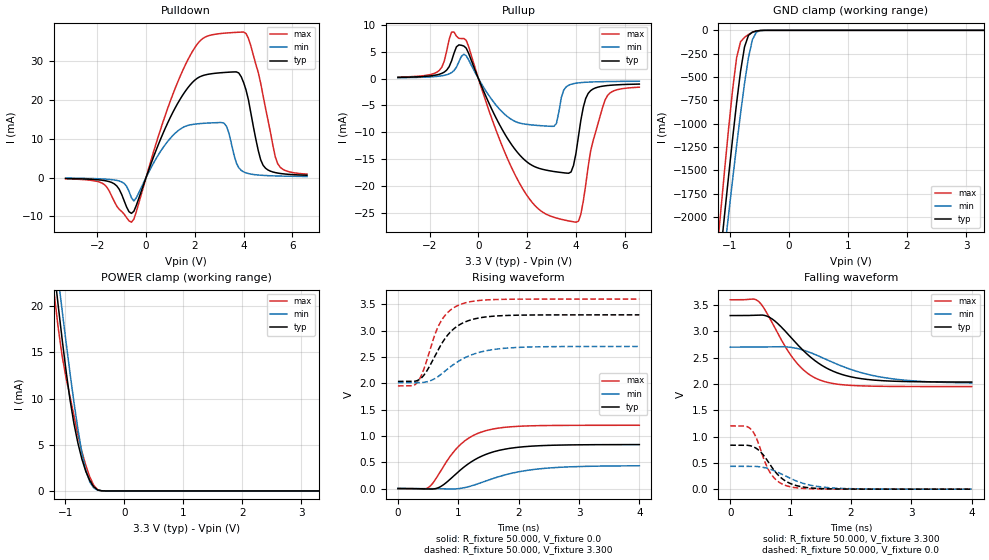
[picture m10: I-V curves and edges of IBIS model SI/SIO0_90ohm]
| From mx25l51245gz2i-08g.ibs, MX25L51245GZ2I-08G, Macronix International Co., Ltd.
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|   Model SI/SIO0_90ohm
[Model] SI/SIO0_90ohm
Model_type I/O
Vinl = 0.8
Vinh = 2.31
Vmeas = 1.65
Vref = 3.3
Cref = 30pF
Rref = 25000
Polarity   Non-Inverting
Enable   Active-High
C_comp   6.079pF   5.517pF   6.777pF
[Temperature Range]   25.000   85.000   -40.000
[Voltage Range]   3.300V   2.700V   3.600V
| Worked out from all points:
|   slope of the pulldown table from 0 to 0.495 V, typ, clamps not added: 59.2 ohm
|   slope of the pullup table from 0 to 0.495 V, typ, clamps not added: 95 ohm
|   GND clamp passes 1 mA (typ) near -0.46 V on its own axis
|   POWER clamp passes 1 mA (typ) near -0.57 V on its own axis
|   rising waveform, R_fixture 50.000, V_fixture 0.0: 20-80 % time 647ps typ, 829ps min, 519ps max; typ from 0 V to 0.835 V
|   rising waveform, R_fixture 50.000, V_fixture 3.300: 20-80 % time 432ps typ, 584ps min, 334ps max; typ from 2.04 V to 3.3 V
|   falling waveform, R_fixture 50.000, V_fixture 3.300: 20-80 % time 741ps typ, 987ps min, 556ps max; typ from 3.3 V to 2.04 V
|   falling waveform, R_fixture 50.000, V_fixture 0.0: 20-80 % time 365ps typ, 549ps min, 270ps max; typ from 0.836 V to 0 V
[Pulldown]
|Voltage   I(typ)   I(min)   I(max)
-3.3V     -252uA     -157uA     -332uA
-1.9V     -630.6uA   -333uA     -1.199mA
-1.4V     -1.307mA   -557.3uA   -4.922mA
-600mV    -9.242mA   -5.224mA   -11.51mA
900mV     14.26mA    9.414mA    18.07mA
1.9V      24.51mA    13.68mA    32.47mA
3.2V      27.07mA    13.98mA    37.2mA
3.9V      25.99mA    1.859mA    37.47mA
4.2V      19.95mA    1.012mA    35.81mA
4.8V      3.151mA    546.7uA    21.04mA
5.4V      1.144mA    391.9uA    3.53mA
6.6V      588uA      270.5uA    879.2uA
[Pullup]
|Voltage   I(typ)   I(min)   I(max)
-3.3V     201.2uA    140.4uA    254.5uA
-1.6V     795.8uA    441.3uA    1.528mA
-1.1V     3.284mA    1.094mA    8.648mA
-500mV    5.663mA    4.237mA    7.117mA
700mV     -7.141mA   -4.83mA    -9.36mA
1.8V      -14.78mA   -8.424mA   -20.44mA
3.1V      -17.35mA   -8.907mA   -25.88mA
3.5V      -17.59mA   -2.156mA   -26.37mA
4V        -13.98mA   -873.6uA   -26.8mA
4.4V      -3.731mA   -699.6uA   -19.86mA
5.2V      -1.361mA   -578uA     -3.945mA
6.6V      -1.043mA   -510uA     -1.623mA
[GND_clamp]
|Voltage   I(typ)   I(min)   I(max)
-3.3V     -16.26A    -15.32A    -17.42A
-1.223V   -2.789A    -3.098A    -2.397A
-1.156V   -2.37A     -2.716A    -1.934A
-1.089V   -1.956A    -2.336A    -1.48A
-1.022V   -1.549A    -1.962A    -1.041A
-888mV    -777.8mA   -1.235A    -293.3mA
-821mV    -438.6mA   -890.1mA   -121.9mA
-754mV    -178mA     -568.8mA   -75.51mA
-620mV    -19.48mA   -98.95mA   -20.55mA
-553mV    -6.969mA   -20.17mA   -6.693mA
-419mV    -222.9uA   -429.4uA   -105.6uA
3.3V      0A         0A         0A
[POWER_clamp]
|Voltage   I(typ)   I(min)   I(max)
-3.266V   152.7mA    145.5mA    161.8mA
-1.189V   23.95mA    26.75mA    21.39mA
-1.122V   20.15mA    23.14mA    17.74mA
-1.055V   16.48mA    19.6mA     14.66mA
-921mV    9.899mA    12.79mA    10.21mA
-854mV    7.291mA    9.606mA    8.157mA
-787mV    5.192mA    6.684mA    6.081mA
-720mV    3.463mA    4.167mA    4.258mA
-653mV    2.116mA    2.232mA    2.767mA
-586mV    1.136mA    979.3uA    1.522mA
-452mV    107.4uA    79.5uA     130.8uA
3.3V      0A         0A         0A
[Ramp]
| variable   typ   min   max
dV/dt_r   0.501/0.649n   0.260/0.830n   0.721/0.518n
dV/dt_f   0.758/0.748n   0.408/0.991n   0.990/0.560n
R_load = 50.000
[Rising Waveform]
R_fixture= 50.000
V_fixture= 0.0
V_fixture_min= 0.0
V_fixture_max= 0.0
|time   V(typ)   V(min)   V(max)
0s        2.053uV    2.054uV    1.955uV
508ps     -10.58mV   -2.258mV   22.16mV
708ps     37.61mV    -6.597mV   333.3mV
868ps     180.1mV    -9.707mV   615.6mV
1.018ns   335.7mV    297.2uV    816.7mV
1.217ns   509.1mV    50.32mV    989.1mV
1.469ns   654.1mV    148.9mV    1.104V
1.848ns   762.8mV    280.8mV    1.171V
2.378ns   815.4mV    378.4mV    1.196V
4ns       835.2mV    432.4mV    1.202V
[Rising Waveform]
R_fixture= 50.000
V_fixture= 3.300
V_fixture_min= 2.700
V_fixture_max= 3.600
|time   V(typ)   V(min)   V(max)
0s        2.035V     2.011V     1.95V
328ps     2.055V     2.01V      2.025V
468ps     2.215V     2.025V     2.397V
608ps     2.505V     2.086V     2.912V
701ps     2.705V     2.158V     3.153V
850ps     2.951V     2.296V     3.371V
1.048ns   3.13V      2.448V     3.503V
1.378ns   3.248V     2.596V     3.576V
1.818ns   3.289V     2.67V      3.596V
4ns       3.3V       2.7V       3.6V
[Falling Waveform]
R_fixture= 50.000
V_fixture= 3.300
V_fixture_min= 2.700
V_fixture_max= 3.600
|time   V(typ)   V(min)   V(max)
0s        3.3V       2.7V       3.6V
380ps     3.306V     2.7V       3.614V
469ps     3.311V     2.702V     3.568V
708ps     3.224V     2.708V     3.134V
1.07ns    2.803V     2.684V     2.444V
1.275ns   2.565V     2.619V     2.208V
1.5ns     2.366V     2.512V     2.068V
1.915ns   2.159V     2.31V      1.979V
2.499ns   2.064V     2.13V      1.955V
4ns       2.036V     2.02V      1.95V
[Falling Waveform]
R_fixture= 50.000
V_fixture= 0.0
V_fixture_min= 0.0
V_fixture_max= 0.0
|time   V(typ)   V(min)   V(max)
0s        835.9mV    434.6mV    1.203V
250ps     836.1mV    434.9mV    1.198V
350ps     819.7mV    435.2mV    1.131V
500ps     711.4mV    424mV      759.9mV
670ps     448.8mV    376mV      297.5mV
800ps     261.1mV    314.7mV    139.2mV
970ps     121.1mV    218.5mV    52.22mV
1.288ns   28.53mV    85.78mV    9.212mV
1.698ns   4.942mV    22.69mV    1.454mV
4ns       174.2uV    109.1uV    250.2uV
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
